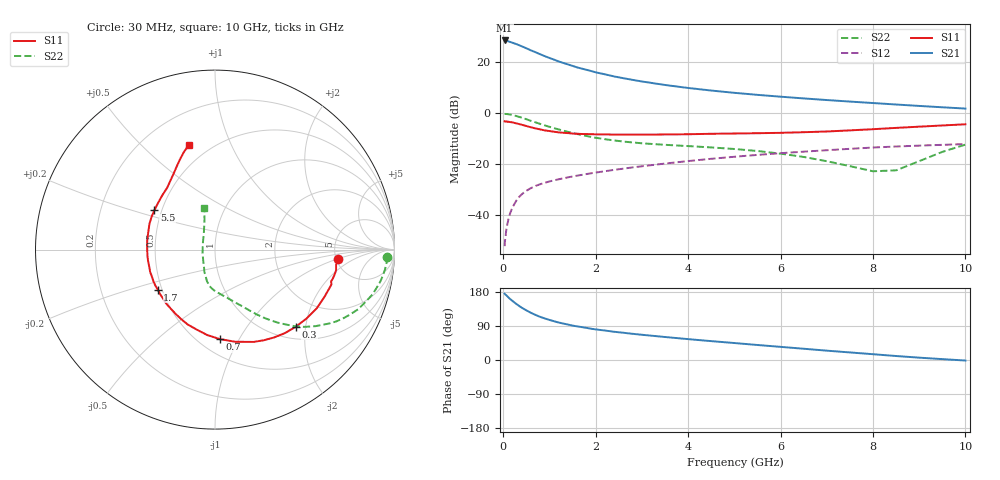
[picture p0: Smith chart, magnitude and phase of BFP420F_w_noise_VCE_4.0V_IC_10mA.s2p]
! Infineon Technologies  Discrete & RF Semiconductors
! BFP420F
! VCE =  4.0 V,  IC =  10 mA
! Common Emitter S-Parameters:  Sep 2011
# GHz  S  MA  R  50
!  f  S11  S21  S12  S22
! GHz  MAG  ANG  MAG  ANG  MAG  ANG  MAG  ANG
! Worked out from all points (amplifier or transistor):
!   54 points, 30 MHz to 10 GHz, reference 50 ohm
!   highest |S21| = 28.4 dB at 30 MHz (marker M1)
!   |S21| within 3 dB of that: start of sweep to 491.8 MHz
!   unconditionally stable (mu >= 1): 2.103 GHz to end of sweep
!   at 120 MHz: K = 0.28, MSG = 34.5 dB, |S12| = -41.0 dB
!   at 1.3 GHz: K = 0.74, MSG = 22.5 dB, |S12| = -25.5 dB
!   at 10 GHz: K = 1.29, MAG = 3.7 dB, |S12| = -12.1 dB
!   lowest NFmin = 1.18 dB at 450 MHz
!   S11 on the Smith chart (normalised r, x): 30 MHz: 5.19, -0.99; 300 MHz: 1.26, -1.77; 700 MHz: 0.63, -0.83; 1.7 GHz: 0.47, -0.25; 5.5 GHz: 0.46, +0.24; 10 GHz: 0.39, +0.71
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0.03  0.6866 -4.2  26.16 175.0  0.0025 59.6  0.9602 -2.4
0.05  0.6801 -7.3  25.81 172.2  0.0038 66.4  0.9591 -4.0
0.07  0.6821 -11.0  25.8 170.4  0.0054 70.2  0.9554 -5.8
0.1  0.6708 -15.3  25.42 166.6  0.0074 74.0  0.9485 -8.2
0.15  0.6652 -22.9  24.47 160.9  0.011 74.2  0.9321 -12.1
0.25  0.6387 -36.8  22.71 151.0  0.0172 71.0  0.8875 -19.2
0.3  0.6228 -43.6  21.95 146.5  0.0205 69.5  0.8643 -22.6
0.35  0.6066 -50.1  21.03 142.2  0.0232 67.5  0.8366 -25.5
0.45  0.5734 -61.8  19.27 134.4  0.0281 64.3  0.7834 -30.8
0.6  0.5258 -77.6  16.75 124.5  0.0341 60.2  0.7026 -37.4
0.7  0.4994 -86.9  15.38 118.9  0.0376 58.4  0.6563 -41.0
0.8  0.4777 -95.3  14.06 113.8  0.0406 57.0  0.6123 -44.1
0.9  0.4573 -102.8  12.88 109.6  0.0433 55.8  0.5725 -46.7
1.1  0.4302 -116.3  11.03 102.2  0.0484 54.3  0.5049 -51.5
1.4  0.405 -132.5  8.908 93.6  0.0553 53.4  0.4293 -57.3
1.7  0.389 -145.1  7.363 86.8  0.0618 53.0  0.3707 -62.2
2.4  0.3784 -165.9  5.181 74.5  0.0774 52.4  0.2911 -73.1
3.5  0.3808 172.9  3.53 60.7  0.1029 50.5  0.239 -86.8
5.5  0.4029 147.0  2.264 39.6  0.1518 42.6  0.1811 -104.4
7  0.4353 127.8  1.792 24.7  0.1874 34.8  0.1144 -122.5
8.5  0.5118 114.5  1.466 10.5  0.2216 25.5  0.0758 153.6
10  0.6021 103.9  1.221 -1.4  0.2471 16.7  0.2413 104.1
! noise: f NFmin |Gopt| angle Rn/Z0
0.45  1.18  0.02  48  0.13
0.9  1.19  0.06  87  0.14
1.9  1.33  0.14  155  0.27
2.4  1.39  0.15  158  0.17
3.5  1.66  0.2  179  0.18
